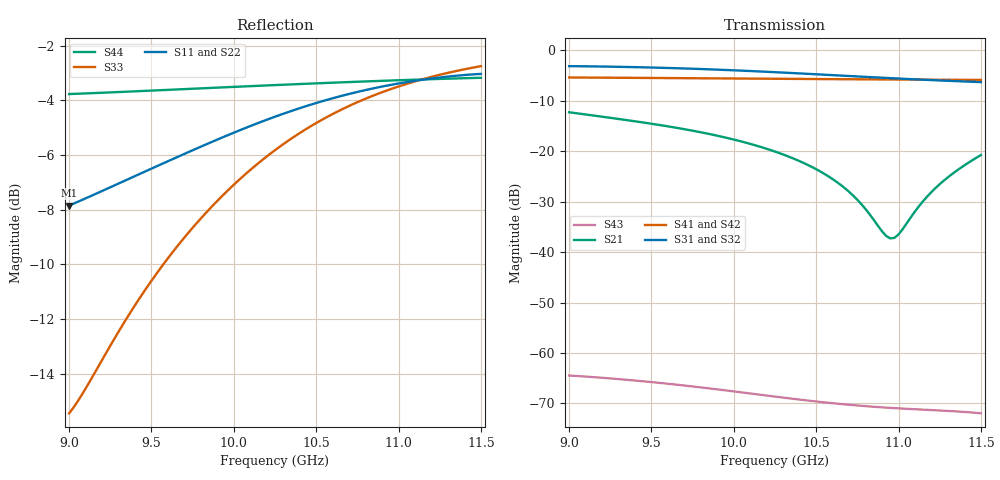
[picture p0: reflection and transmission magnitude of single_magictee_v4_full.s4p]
! Generated from PyAEDT SolutionData; AEDT ExportNetworkData workaround
# GHz S MA R 50
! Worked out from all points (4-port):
!   101 points, 9 GHz to 11.5 GHz, reference 50 ohm
!   strongest paths, dB at 9 GHz, 9.625 GHz, 10.25 GHz, 10.88 GHz, 11.5 GHz:
!     S31: -3.1, -3.5, -4.3, -5.4, -6.3
!     S32: -3.1, -3.5, -4.3, -5.4, -6.3
!     S41: -5.4, -5.5, -5.6, -5.8, -5.9
!     S42: -5.4, -5.5, -5.6, -5.8, -5.9
!     S21: -12.3, -15.2, -20.1, -34.8, -20.7
!     S43: -64.5, -66.2, -68.6, -70.7, -71.9
!   lowest |S11| = -7.8 dB at 9 GHz (marker M1), VSWR 2.36, Z = 74.3 + j48.2 ohm
!   |S11| at or under -10 dB: nowhere
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9  0.4051 42.0  0.2436 -129.5  0.6975 -67.3  0.5386 37.1
   0.2436 -129.5  0.4067 42.1  0.6965 -67.3  0.5387 -142.8
   0.6975 -67.3  0.6965 -67.3  0.1688 15.7  0.0005986 -58.3
   0.5386 37.1  0.5387 -142.8  0.0005986 -58.3  0.6478 -150.9
9.525  0.4769 -14.8  0.1846 150.7  0.6745 -168.7  0.5326 -19.9
       0.1846 150.7  0.4781 -14.7  0.6736 -168.6  0.5325 160.2
       0.6745 -168.7  0.6736 -168.6  0.3024 -151.4  0.0005105 -161.9
       0.5326 -19.9  0.5325 160.2  0.0005105 -161.9  0.6579 159.1
10.05  0.5583 -74.1  0.1245 75.0  0.6295 95.8  0.5258 -74.5
       0.1245 75.0  0.5593 -74.1  0.6288 95.8  0.5257 105.5
       0.6295 95.8  0.6288 95.8  0.4565 77.7  0.0004069 104.5
       0.5258 -74.5  0.5257 105.5  0.0004069 104.5  0.6687 110.6
10.45  0.6172 -120.7  0.07306 21.5  0.5854 26.3  0.5207 -115.0
       0.07306 21.5  0.6179 -120.6  0.5847 26.4  0.5205 65.0
       0.5854 26.3  0.5847 26.4  0.5616 -11.3  0.0003382 41.1
       0.5207 -115.0  0.5205 65.0  0.0003382 41.1  0.6767 74.4
10.85  0.6638 -167.8  0.02085 -4.9  0.5411 -40.6  0.5158 -154.9
       0.02085 -4.9  0.6644 -167.7  0.5405 -40.5  0.5157 25.1
       0.5411 -40.6  0.5405 -40.5  0.6442 -93.9  0.0002935 -15.9
       0.5158 -154.9  0.5157 25.1  0.0002935 -15.9  0.6841 38.5
11.2  0.6917 150.5  0.03947 65.4  0.5077 -97.7  0.512 170.5
      0.03947 65.4  0.6922 150.6  0.5071 -97.7  0.5119 -9.4
      0.5077 -97.7  0.5071 -97.7  0.6964 -162.7  0.000272 -62.6
      0.512 170.5  0.5119 -9.4  0.000272 -62.6  0.6897 7.2
11.5  0.7052 114.0  0.09176 35.0  0.4847 -146.8  0.5093 141.0
      0.09176 35.0  0.7057 114.0  0.484 -146.8  0.5093 -39.0
      0.4847 -146.8  0.484 -146.8  0.7286 139.6  0.0002527 -100.2
      0.5093 141.0  0.5093 -39.0  0.0002527 -100.2  0.6937 -19.5
